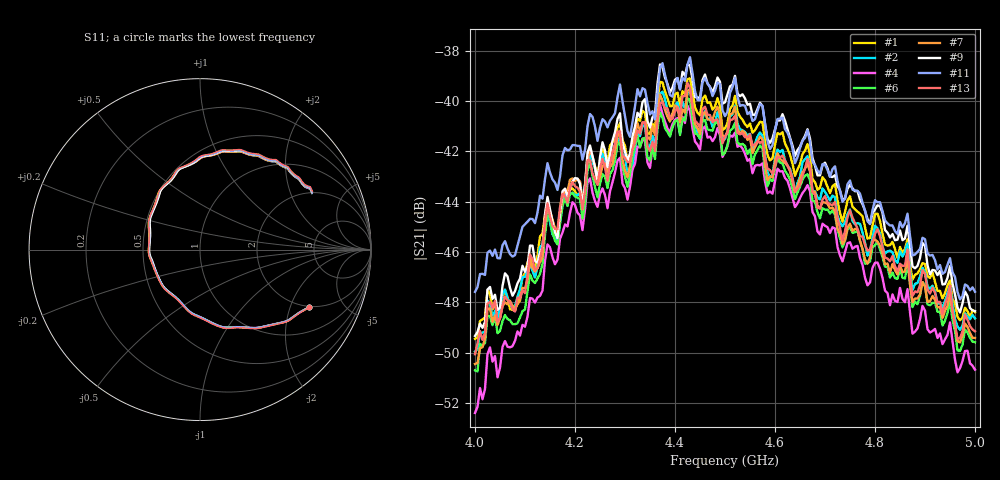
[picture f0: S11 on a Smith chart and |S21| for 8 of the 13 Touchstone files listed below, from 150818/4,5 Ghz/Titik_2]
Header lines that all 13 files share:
# Hz S RI R 50
! CMT, C1220, 16058040, 17.2.0/1
! Data: Format (Calibration Info)
! Freq  S11: Re/Im (F2)  S21: Re/Im (F2)  S12: Re/Im (F2)  S22: Re/Im (F2)
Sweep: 4 GHz to 5 GHz
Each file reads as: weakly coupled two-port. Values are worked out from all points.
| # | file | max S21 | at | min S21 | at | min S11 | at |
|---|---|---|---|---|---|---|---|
| 1 | Sudut_20_Titik_2.s2p | -39.10 dB | 4.43 GHz | -49.5 dB | 4 GHz | -10.7 dB | 4.315 GHz |
| 2 | Sudut_30_Titik_2.s2p | -39.53 dB | 4.43 GHz | -50.0 dB | 4 GHz | -10.8 dB | 4.315 GHz |
| 3 | Sudut_60_Titik_2.s2p | -40.12 dB | 4.425 GHz | -51.8 dB | 4 GHz | -10.9 dB | 4.315 GHz |
| 4 | Sudut_70_Titik_2.s2p | -40.13 dB | 4.37 GHz | -52.4 dB | 4 GHz | -10.8 dB | 4.315 GHz |
| 5 | Sudut_80_Titik_2.s2p | -39.98 dB | 4.425 GHz | -52.8 dB | 4 GHz | -10.8 dB | 4.315 GHz |
| 6 | Sudut_130_Titik_2.s2p | -39.89 dB | 4.425 GHz | -50.8 dB | 4.005 GHz | -10.9 dB | 4.315 GHz |
| 7 | Sudut_140_Titik_2.s2p | -39.53 dB | 4.43 GHz | -50.5 dB | 4 GHz | -10.8 dB | 4.315 GHz |
| 8 | Sudut_170_Titik_2.s2p | -38.63 dB | 4.43 GHz | -49.7 dB | 4 GHz | -10.9 dB | 4.315 GHz |
| 9 | Sudut_180_Titik_2.s2p | -38.54 dB | 4.37 GHz | -49.3 dB | 4 GHz | -11.0 dB | 4.315 GHz |
| 10 | Sudut_200_Titik_2.s2p | -38.17 dB | 4.375 GHz | -48.1 dB | 4.005 GHz | -10.8 dB | 4.315 GHz |
| 11 | Sudut_220_Titik_2.s2p | -38.26 dB | 4.43 GHz | -47.9 dB | 4.97 GHz | -10.9 dB | 4.315 GHz |
| 12 | Sudut_260_Titik_2.s2p | -39.25 dB | 4.425 GHz | -51.9 dB | 4 GHz | -10.7 dB | 4.315 GHz |
| 13 | Sudut_310_Titik_2.s2p | -39.28 dB | 4.425 GHz | -50.1 dB | 4 GHz | -10.7 dB | 4.315 GHz |
